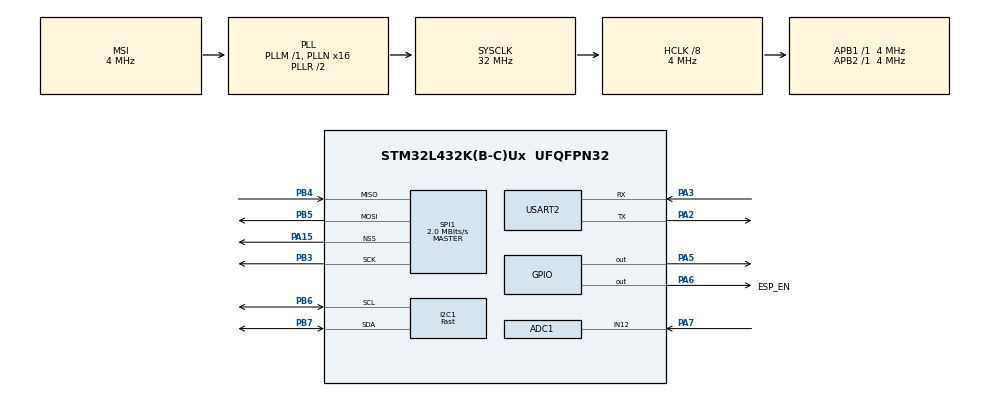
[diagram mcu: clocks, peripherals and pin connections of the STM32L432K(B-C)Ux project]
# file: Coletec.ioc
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ADC1.Channel-17\#ChannelRegularConversion=ADC_CHANNEL_12
ADC1.NbrOfConversionFlag=1
ADC1.OffsetNumber-17\#ChannelRegularConversion=ADC_OFFSET_NONE
ADC1.Rank-17\#ChannelRegularConversion=1
ADC1.SamplingTime-17\#ChannelRegularConversion=ADC_SAMPLETIME_2CYCLES_5
ADC1.master=1
Dma.Request0=USART2_TX
Dma.Request1=USART2_RX
Dma.USART2_RX.1.Direction=DMA_PERIPH_TO_MEMORY
Dma.USART2_RX.1.Instance=DMA1_Channel6
Dma.USART2_RX.1.MemDataAlignment=DMA_MDATAALIGN_BYTE
Dma.USART2_RX.1.MemInc=DMA_MINC_ENABLE
Dma.USART2_RX.1.Mode=DMA_NORMAL
Dma.USART2_RX.1.PeriphDataAlignment=DMA_PDATAALIGN_BYTE
Dma.USART2_RX.1.PeriphInc=DMA_PINC_DISABLE
Dma.USART2_RX.1.Priority=DMA_PRIORITY_LOW
Dma.USART2_TX.0.Direction=DMA_MEMORY_TO_PERIPH
Dma.USART2_TX.0.Instance=DMA1_Channel7
Dma.USART2_TX.0.MemDataAlignment=DMA_MDATAALIGN_BYTE
Dma.USART2_TX.0.MemInc=DMA_MINC_ENABLE
Dma.USART2_TX.0.Mode=DMA_NORMAL
Dma.USART2_TX.0.PeriphDataAlignment=DMA_PDATAALIGN_BYTE
Dma.USART2_TX.0.PeriphInc=DMA_PINC_DISABLE
Dma.USART2_TX.0.Priority=DMA_PRIORITY_LOW
I2C1.I2C_Speed_Mode=I2C_Fast
I2C1.Speed=100
I2C1.Timing=0x00000022
Mcu.Family=STM32L4
Mcu.Name=STM32L432K(B-C)Ux
Mcu.Package=UFQFPN32
NVIC.DMA1_Channel6_IRQn=true\:0\:0\:false\:false\:true
NVIC.DMA1_Channel7_IRQn=true\:0\:0\:false\:false\:true
NVIC.PriorityGroup=NVIC_PRIORITYGROUP_4
NVIC.USART2_IRQn=true\:0\:0\:false\:false\:true
PA13\ (JTMS-SWDIO).Mode=Serial_Wire
PA13\ (JTMS-SWDIO).Signal=SYS_JTMS-SWDIO
PA14\ (JTCK-SWCLK).Mode=Serial_Wire
PA14\ (JTCK-SWCLK).Signal=SYS_JTCK-SWCLK
PA15\ (JTDI).Mode=NSS_Signal_Hard_Output
PA15\ (JTDI).Signal=SPI1_NSS
PA2.Mode=Asynchronous
PA2.Signal=USART2_TX
PA3.Mode=Asynchronous
PA3.Signal=USART2_RX
PA5.Signal=GPIO_Output
PA6.GPIO_Label=ESP_EN
PA6.Signal=GPIO_Output
PA7.Signal=ADCx_IN12
PB3\ (JTDO-TRACESWO).Mode=Full_Duplex_Master
PB3\ (JTDO-TRACESWO).Signal=SPI1_SCK
PB4\ (NJTRST).Mode=Full_Duplex_Master
PB4\ (NJTRST).Signal=SPI1_MISO
PB5.Mode=Full_Duplex_Master
PB5.Signal=SPI1_MOSI
PB6.Mode=I2C
PB6.Signal=I2C1_SCL
PB7.Mode=I2C
PB7.Signal=I2C1_SDA
ProjectManager.HeapSize=0x200
ProjectManager.StackSize=0x400
ProjectManager.TargetToolchain=MDK-ARM V5
RCC.ADCFreq_Value=32000000
RCC.AHBCLKDivider=RCC_SYSCLK_DIV8
RCC.AHBFreq_Value=4000000
RCC.APB1Freq_Value=4000000
RCC.APB1TimFreq_Value=4000000
RCC.APB2Freq_Value=4000000
RCC.APB2TimFreq_Value=4000000
RCC.CortexFreq_Value=4000000
RCC.HCLKFreq_Value=4000000
RCC.HSE_VALUE=8000000
RCC.HSI48_VALUE=48000000
RCC.HSI_VALUE=16000000
RCC.LSE_VALUE=32768
RCC.MSI_VALUE=4000000
RCC.PLLN=16
RCC.PLLSAI1N=16
RCC.SYSCLKFreq_VALUE=32000000
RCC.SYSCLKSource=RCC_SYSCLKSOURCE_PLLCLK
RCC.USBFreq_Value=32000000
RCC.VCOOutputFreq_Value=64000000
SH.ADCx_IN12.0=ADC1_IN12,IN12-Single-Ended
SPI1.BaudRatePrescaler=SPI_BAUDRATEPRESCALER_2
SPI1.CalculateBaudRate=2.0 MBits/s
SPI1.DataSize=SPI_DATASIZE_8BIT
SPI1.Direction=SPI_DIRECTION_2LINES
SPI1.Mode=SPI_MODE_MASTER
SPI1.VirtualNSS=VM_NSSHARD
SPI1.VirtualType=VM_MASTER
USART2.VirtualMode-Asynchronous=VM_ASYNC
USART2.WordLength=WORDLENGTH_8B
board=Coletec

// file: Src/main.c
/**
  ******************************************************************************
  * File Name          : main.c
  * Description        : Main program body
  ******************************************************************************
  ** This notice applies to any and all portions of this file
  * that are not between comment pairs USER CODE BEGIN and
  * USER CODE END. Other portions of this file, whether
  * inserted by the user or by software development tools
  * are owned by their respective copyright owners.
  *
  * COPYRIGHT(c) 2017 STMicroelectronics
  *
  * Redistribution and use in source and binary forms, with or without modification,
  * are permitted provided that the following conditions are met:
  *   1. Redistributions of source code must retain the above copyright notice,
  *      this list of conditions and the following disclaimer.
  *   2. Redistributions in binary form must reproduce the above copyright notice,
  *      this list of conditions and the following disclaimer in the documentation
  *      and/or other materials provided with the distribution.
  *   3. Neither the name of STMicroelectronics nor the names of its contributors
  *      may be used to endorse or promote products derived from this software
  *      without specific prior written permission.
  *
  * THIS SOFTWARE IS PROVIDED BY THE COPYRIGHT HOLDERS AND CONTRIBUTORS "AS IS"
  * AND ANY EXPRESS OR IMPLIED WARRANTIES, INCLUDING, BUT NOT LIMITED TO, THE
  * IMPLIED WARRANTIES OF MERCHANTABILITY AND FITNESS FOR A PARTICULAR PURPOSE ARE
  * DISCLAIMED. IN NO EVENT SHALL THE COPYRIGHT HOLDER OR CONTRIBUTORS BE LIABLE
  * FOR ANY DIRECT, INDIRECT, INCIDENTAL, SPECIAL, EXEMPLARY, OR CONSEQUENTIAL
  * DAMAGES (INCLUDING, BUT NOT LIMITED TO, PROCUREMENT OF SUBSTITUTE GOODS OR
  * SERVICES; LOSS OF USE, DATA, OR PROFITS; OR BUSINESS INTERRUPTION) HOWEVER
  * CAUSED AND ON ANY THEORY OF LIABILITY, WHETHER IN CONTRACT, STRICT LIABILITY,
  * OR TORT (INCLUDING NEGLIGENCE OR OTHERWISE) ARISING IN ANY WAY OUT OF THE USE
  * OF THIS SOFTWARE, EVEN IF ADVISED OF THE POSSIBILITY OF SUCH DAMAGE.
  *
  ******************************************************************************
  */
#include "main.h"
#include "stm32l4xx_hal.h"

/* USER CODE BEGIN Includes */
#include "LSM6DS3H.h"
#include "string.h"
/* USER CODE END Includes */

ADC_HandleTypeDef hadc1;

I2C_HandleTypeDef hi2c1;

SPI_HandleTypeDef hspi1;

UART_HandleTypeDef huart2;
DMA_HandleTypeDef hdma_usart2_tx;
DMA_HandleTypeDef hdma_usart2_rx;

/* USER CODE BEGIN PV */
/* Private variables ---------------------------------------------------------*/
uint16_t  temperatura;

Axis_TypeDef AxisGyro;
uint8_t buffRx[10];
char buffTx[32];
Axis_TypeDef AxisAcc;

uint8_t resp;
/* USER CODE END PV */

void SystemClock_Config(void);
static void MX_GPIO_Init(void);
static void MX_DMA_Init(void);
static void MX_SPI1_Init(void);
static void MX_USART2_UART_Init(void);
static void MX_I2C1_Init(void);
static void MX_ADC1_Init(void);

/* USER CODE BEGIN PFP */
/* Private function prototypes -----------------------------------------------*/

/* USER CODE END PFP */

int main(void)
{

  /* MCU Configuration----------------------------------------------------------*/

  /* Reset of all peripherals, Initializes the Flash interface and the Systick. */
  HAL_Init();

  /* Configure the system clock */
  SystemClock_Config();

  /* Initialize all configured peripherals */
  MX_GPIO_Init();
  MX_DMA_Init();
  MX_SPI1_Init();
  MX_USART2_UART_Init();
  MX_I2C1_Init();
  MX_ADC1_Init();

  /* USER CODE BEGIN 2 */

	HAL_GPIO_WritePin(ESP_EN_GPIO_Port, ESP_EN_Pin, GPIO_PIN_SET);

	strcpy(buffTx, "AT\r\n");

	HAL_Delay(1000);

	HAL_UART_Transmit_DMA(&huart2, (uint8_t*) buffTx, 4);

  resp = HAL_UART_Receive_DMA(&huart2, buffRx, sizeof(buffRx));
	while(resp != HAL_OK);
	while (LSM_Init(&hi2c1, LOW_ADDRESS) != LSM_OK){}

  /* USER CODE END 2 */

  /* Infinite loop */
  /* USER CODE BEGIN WHILE */
  while (1)
  {

		LSM_ReadGyro(&hi2c1, LOW_ADDRESS, &AxisGyro);
		LSM_ReadAcc(&hi2c1, LOW_ADDRESS, &AxisAcc);

		LSM_ReadTemp(&hi2c1, LOW_ADDRESS, &temperatura);

		//printf(" \n");

		HAL_Delay(300);
  /* USER CODE END WHILE */

  }

}

/** System Clock Configuration
*/
void SystemClock_Config(void)
{

  RCC_OscInitTypeDef RCC_OscInitStruct;
  RCC_ClkInitTypeDef RCC_ClkInitStruct;
  RCC_PeriphCLKInitTypeDef PeriphClkInit;

    /**Initializes the CPU, AHB and APB busses clocks
    */
  RCC_OscInitStruct.OscillatorType = RCC_OSCILLATORTYPE_MSI;
  RCC_OscInitStruct.MSIState = RCC_MSI_ON;
  RCC_OscInitStruct.MSICalibrationValue = 0;
  RCC_OscInitStruct.MSIClockRange = RCC_MSIRANGE_6;
  RCC_OscInitStruct.PLL.PLLState = RCC_PLL_ON;
  RCC_OscInitStruct.PLL.PLLSource = RCC_PLLSOURCE_MSI;
  RCC_OscInitStruct.PLL.PLLM = 1;
  RCC_OscInitStruct.PLL.PLLN = 16;
  RCC_OscInitStruct.PLL.PLLP = RCC_PLLP_DIV7;
  RCC_OscInitStruct.PLL.PLLQ = RCC_PLLQ_DIV2;
  RCC_OscInitStruct.PLL.PLLR = RCC_PLLR_DIV2;
  if (HAL_RCC_OscConfig(&RCC_OscInitStruct) != HAL_OK)
  {
    _Error_Handler(__FILE__, __LINE__);
  }

    /**Initializes the CPU, AHB and APB busses clocks
    */
  RCC_ClkInitStruct.ClockType = RCC_CLOCKTYPE_HCLK|RCC_CLOCKTYPE_SYSCLK
                              |RCC_CLOCKTYPE_PCLK1|RCC_CLOCKTYPE_PCLK2;
  RCC_ClkInitStruct.SYSCLKSource = RCC_SYSCLKSOURCE_PLLCLK;
  RCC_ClkInitStruct.AHBCLKDivider = RCC_SYSCLK_DIV8;
  RCC_ClkInitStruct.APB1CLKDivider = RCC_HCLK_DIV1;
  RCC_ClkInitStruct.APB2CLKDivider = RCC_HCLK_DIV1;

  if (HAL_RCC_ClockConfig(&RCC_ClkInitStruct, FLASH_LATENCY_0) != HAL_OK)
  {
    _Error_Handler(__FILE__, __LINE__);
  }

  PeriphClkInit.PeriphClockSelection = RCC_PERIPHCLK_USART2|RCC_PERIPHCLK_I2C1
                              |RCC_PERIPHCLK_ADC;
  PeriphClkInit.Usart2ClockSelection = RCC_USART2CLKSOURCE_PCLK1;
  PeriphClkInit.I2c1ClockSelection = RCC_I2C1CLKSOURCE_PCLK1;
  PeriphClkInit.AdcClockSelection = RCC_ADCCLKSOURCE_PLLSAI1;
  PeriphClkInit.PLLSAI1.PLLSAI1Source = RCC_PLLSOURCE_MSI;
  PeriphClkInit.PLLSAI1.PLLSAI1M = 1;
  PeriphClkInit.PLLSAI1.PLLSAI1N = 16;
  PeriphClkInit.PLLSAI1.PLLSAI1P = RCC_PLLP_DIV7;
  PeriphClkInit.PLLSAI1.PLLSAI1Q = RCC_PLLQ_DIV2;
  PeriphClkInit.PLLSAI1.PLLSAI1R = RCC_PLLR_DIV2;
  PeriphClkInit.PLLSAI1.PLLSAI1ClockOut = RCC_PLLSAI1_ADC1CLK;
  if (HAL_RCCEx_PeriphCLKConfig(&PeriphClkInit) != HAL_OK)
  {
    _Error_Handler(__FILE__, __LINE__);
  }

    /**Configure the main internal regulator output voltage
    */
  if (HAL_PWREx_ControlVoltageScaling(PWR_REGULATOR_VOLTAGE_SCALE1) != HAL_OK)
  {
    _Error_Handler(__FILE__, __LINE__);
  }

    /**Configure the Systick interrupt time
    */
  HAL_SYSTICK_Config(HAL_RCC_GetHCLKFreq()/1000);

    /**Configure the Systick
    */
  HAL_SYSTICK_CLKSourceConfig(SYSTICK_CLKSOURCE_HCLK);

  /* SysTick_IRQn interrupt configuration */
  HAL_NVIC_SetPriority(SysTick_IRQn, 0, 0);
}

/* ADC1 init function */
static void MX_ADC1_Init(void)
{

  ADC_ChannelConfTypeDef sConfig;

    /**Common config
    */
  hadc1.Instance = ADC1;
  hadc1.Init.ClockPrescaler = ADC_CLOCK_ASYNC_DIV1;
  hadc1.Init.Resolution = ADC_RESOLUTION_12B;
  hadc1.Init.DataAlign = ADC_DATAALIGN_RIGHT;
  hadc1.Init.ScanConvMode = ADC_SCAN_DISABLE;
  hadc1.Init.EOCSelection = ADC_EOC_SINGLE_CONV;
  hadc1.Init.LowPowerAutoWait = DISABLE;
  hadc1.Init.ContinuousConvMode = DISABLE;
  hadc1.Init.NbrOfConversion = 1;
  hadc1.Init.DiscontinuousConvMode = DISABLE;
  hadc1.Init.NbrOfDiscConversion = 1;
  hadc1.Init.ExternalTrigConv = ADC_SOFTWARE_START;
  hadc1.Init.ExternalTrigConvEdge = ADC_EXTERNALTRIGCONVEDGE_NONE;
  hadc1.Init.DMAContinuousRequests = DISABLE;
  hadc1.Init.Overrun = ADC_OVR_DATA_PRESERVED;
  hadc1.Init.OversamplingMode = DISABLE;
  if (HAL_ADC_Init(&hadc1) != HAL_OK)
  {
    _Error_Handler(__FILE__, __LINE__);
  }

    /**Configure Regular Channel
    */
  sConfig.Channel = ADC_CHANNEL_12;
  sConfig.Rank = 1;
  sConfig.SamplingTime = ADC_SAMPLETIME_2CYCLES_5;
  sConfig.SingleDiff = ADC_SINGLE_ENDED;
  sConfig.OffsetNumber = ADC_OFFSET_NONE;
  sConfig.Offset = 0;
  if (HAL_ADC_ConfigChannel(&hadc1, &sConfig) != HAL_OK)
  {
    _Error_Handler(__FILE__, __LINE__);
  }

}

/* I2C1 init function */
static void MX_I2C1_Init(void)
{

  hi2c1.Instance = I2C1;
  hi2c1.Init.Timing = 0x00000022;
  hi2c1.Init.OwnAddress1 = 0;
  hi2c1.Init.AddressingMode = I2C_ADDRESSINGMODE_7BIT;
  hi2c1.Init.DualAddressMode = I2C_DUALADDRESS_DISABLE;
  hi2c1.Init.OwnAddress2 = 0;
  hi2c1.Init.OwnAddress2Masks = I2C_OA2_NOMASK;
  hi2c1.Init.GeneralCallMode = I2C_GENERALCALL_DISABLE;
  hi2c1.Init.NoStretchMode = I2C_NOSTRETCH_DISABLE;
  if (HAL_I2C_Init(&hi2c1) != HAL_OK)
  {
    _Error_Handler(__FILE__, __LINE__);
  }

    /**Configure Analogue filter
    */
  if (HAL_I2CEx_ConfigAnalogFilter(&hi2c1, I2C_ANALOGFILTER_ENABLE) != HAL_OK)
  {
    _Error_Handler(__FILE__, __LINE__);
  }

    /**Configure Digital filter
    */
  if (HAL_I2CEx_ConfigDigitalFilter(&hi2c1, 0) != HAL_OK)
  {
    _Error_Handler(__FILE__, __LINE__);
  }

}

/* SPI1 init function */
static void MX_SPI1_Init(void)
{

  hspi1.Instance = SPI1;
  hspi1.Init.Mode = SPI_MODE_MASTER;
  hspi1.Init.Direction = SPI_DIRECTION_2LINES;
  hspi1.Init.DataSize = SPI_DATASIZE_8BIT;
  hspi1.Init.CLKPolarity = SPI_POLARITY_LOW;
  hspi1.Init.CLKPhase = SPI_PHASE_1EDGE;
  hspi1.Init.NSS = SPI_NSS_HARD_OUTPUT;
  hspi1.Init.BaudRatePrescaler = SPI_BAUDRATEPRESCALER_2;
  hspi1.Init.FirstBit = SPI_FIRSTBIT_MSB;
  hspi1.Init.TIMode = SPI_TIMODE_DISABLE;
  hspi1.Init.CRCCalculation = SPI_CRCCALCULATION_DISABLE;
  hspi1.Init.CRCPolynomial = 7;
  hspi1.Init.CRCLength = SPI_CRC_LENGTH_DATASIZE;
  hspi1.Init.NSSPMode = SPI_NSS_PULSE_ENABLE;
  if (HAL_SPI_Init(&hspi1) != HAL_OK)
  {
    _Error_Handler(__FILE__, __LINE__);
  }

}

/* USART2 init function */
static void MX_USART2_UART_Init(void)
{

  huart2.Instance = USART2;
  huart2.Init.BaudRate = 115200;
  huart2.Init.WordLength = UART_WORDLENGTH_8B;
  huart2.Init.StopBits = UART_STOPBITS_1;
  huart2.Init.Parity = UART_PARITY_NONE;
  huart2.Init.Mode = UART_MODE_TX_RX;
  huart2.Init.HwFlowCtl = UART_HWCONTROL_NONE;
  huart2.Init.OverSampling = UART_OVERSAMPLING_16;
  huart2.Init.OneBitSampling = UART_ONE_BIT_SAMPLE_DISABLE;
  huart2.AdvancedInit.AdvFeatureInit = UART_ADVFEATURE_NO_INIT;
  if (HAL_UART_Init(&huart2) != HAL_OK)
  {
    _Error_Handler(__FILE__, __LINE__);
  }

}

static void MX_DMA_Init(void)
{
  /* DMA controller clock enable */
  __HAL_RCC_DMA1_CLK_ENABLE();

  /* DMA interrupt init */
  /* DMA1_Channel6_IRQn interrupt configuration */
  HAL_NVIC_SetPriority(DMA1_Channel6_IRQn, 0, 0);
  HAL_NVIC_EnableIRQ(DMA1_Channel6_IRQn);
  /* DMA1_Channel7_IRQn interrupt configuration */
  HAL_NVIC_SetPriority(DMA1_Channel7_IRQn, 0, 0);
  HAL_NVIC_EnableIRQ(DMA1_Channel7_IRQn);

}

/** Configure pins as
        * Analog
        * Input
        * Output
        * EVENT_OUT
        * EXTI
*/
static void MX_GPIO_Init(void)
{

  GPIO_InitTypeDef GPIO_InitStruct;

  /* GPIO Ports Clock Enable */
  __HAL_RCC_GPIOA_CLK_ENABLE();
  __HAL_RCC_GPIOB_CLK_ENABLE();

  /*Configure GPIO pin Output Level */
  HAL_GPIO_WritePin(GPIOA, GPIO_PIN_5|ESP_EN_Pin, GPIO_PIN_RESET);

  /*Configure GPIO pins : PA5 ESP_EN_Pin */
  GPIO_InitStruct.Pin = GPIO_PIN_5|ESP_EN_Pin;
  GPIO_InitStruct.Mode = GPIO_MODE_OUTPUT_PP;
  GPIO_InitStruct.Pull = GPIO_NOPULL;
  GPIO_InitStruct.Speed = GPIO_SPEED_FREQ_LOW;
  HAL_GPIO_Init(GPIOA, &GPIO_InitStruct);

}

void _Error_Handler(char * file, int line)
{
  while(1)
  {
  }
}

/************************ (C) COPYRIGHT STMicroelectronics *****END OF FILE****/
